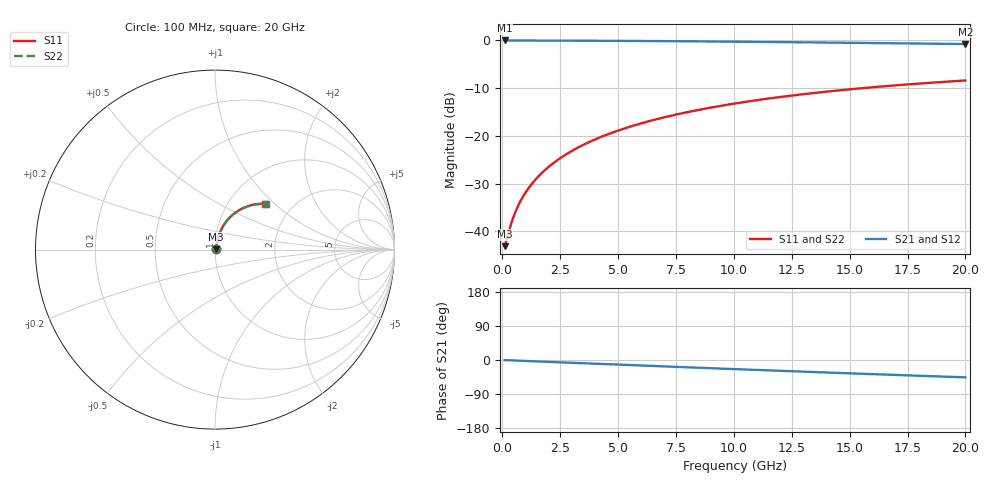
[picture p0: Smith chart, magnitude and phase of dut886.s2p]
! Touchstone file exported from HFSS 2026.1.0
!  File:  C:/ffzhzh/LocalFiles/Ansys_Project_Files/temp_train_TMRDL_886_1783157564_55132.aedt
!  Generated:  05:33:55 PM Jul  4, 2026
!  Design:  TMRDL
!  Project:  temp_train_TMRDL_886_1783157564_55132
! Variables:
!  h_bsmrdl = 2um
!  h_ox = 20um
!  h_rdl = 5um
!  h_sub = 80um
!  h_tmrdl = 2.05um
!  h_tsv = 80um
!  h_via = 3um
!  l_bsmrdl = 300um
!  l_sub = 1097.88um
!  l_tmrdl = 697.88um
!  m_sub = 200um
!  pitch = 37.09um
!  r_tsv = 6um
!  s_tmrdl = 10um
!  w_bsmrdl = 18um
!  w_sub = 500um
!  w_tmrdl = 19.22um
!  x_tsv_center1 = 707.49um
!  x_tsv_center2 = 1025.49um
!  x_tsv_center3 = 1742.59um
!  x_tsv_center4 = 2060.59um
!  x_tsv_center5 = 2777.69um
!  x_tsv_center6 = 3095.69um
# GHz S MA R 50.000000
! Terminal data exported
! Port[1] = TM_RDL1_1_T1
! Port[2] = TM_RDL1_1_T2
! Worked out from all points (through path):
!   200 points, 100 MHz to 20 GHz, reference 50 ohm
!   highest |S21| = -0.06 dB at 100 MHz (marker M1); lowest = -0.8 dB at 20 GHz (marker M2)
!   group delay of S21, straight-line fit = 6.37 ps
!   lowest |S11| = -43.1 dB at 100 MHz (marker M3), VSWR 1.01, Z = 50.7 + j0.263 ohm
!   |S11| at or under -10 dB: start of sweep to 15.63 GHz
!   |S22| runs from -43.1 to -8.4 dB; largest |S21 - S12| = 3.3e-15
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0.1  0.007009 21.7  0.9935 -0.3  0.9935 -0.3  0.007009 21.7
! Gamma 0 0 0 0
! Port Impedance 50 0 50 0
0.4  0.01239 54.5  0.9929 -1.0  0.9929 -1.0  0.01239 54.5
0.5  0.01454 58.9  0.9927 -1.3  0.9927 -1.3  0.01455 58.9
0.6  0.01672 62.0  0.9924 -1.5  0.9924 -1.5  0.01672 62.0
0.7  0.0189 64.4  0.9922 -1.8  0.9922 -1.8  0.0189 64.4
0.9  0.02325 67.7  0.9918 -2.3  0.9918 -2.3  0.02325 67.7
1.2  0.02976 70.8  0.9913 -3.0  0.9913 -3.0  0.02977 70.8
1.4  0.03412 72.1  0.991 -3.5  0.991 -3.5  0.03412 72.1
1.7  0.04068 73.5  0.9906 -4.2  0.9906 -4.2  0.04069 73.5
2.2  0.0517 74.7  0.9898 -5.4  0.9898 -5.4  0.0517 74.7
2.8  0.06497 75.1  0.9889 -6.9  0.9889 -6.9  0.06498 75.1
3.5  0.08047 74.9  0.9876 -8.6  0.9876 -8.6  0.08047 74.8
4.2  0.0959 74.2  0.986 -10.3  0.986 -10.3  0.0959 74.1
5  0.1134 73.0  0.984 -12.2  0.984 -12.2  0.1134 72.9
5.9  0.1328 71.5  0.9813 -14.4  0.9813 -14.4  0.1329 71.3
6.8  0.152 69.8  0.9783 -16.5  0.9783 -16.5  0.152 69.6
8.3  0.1831 66.7  0.9725 -20.0  0.9725 -20.0  0.1831 66.6
10.1  0.2188 63.0  0.9646 -24.2  0.9646 -24.2  0.2188 62.8
11.7  0.249 59.6  0.9568 -27.9  0.9568 -27.9  0.249 59.3
13.4  0.2793 56.0  0.9479 -31.7  0.9479 -31.7  0.2793 55.7
16.7  0.3327 49.1  0.9297 -38.9  0.9297 -38.9  0.3328 48.7
20  0.3788 42.4  0.9114 -45.8  0.9114 -45.8  0.3788 41.9
